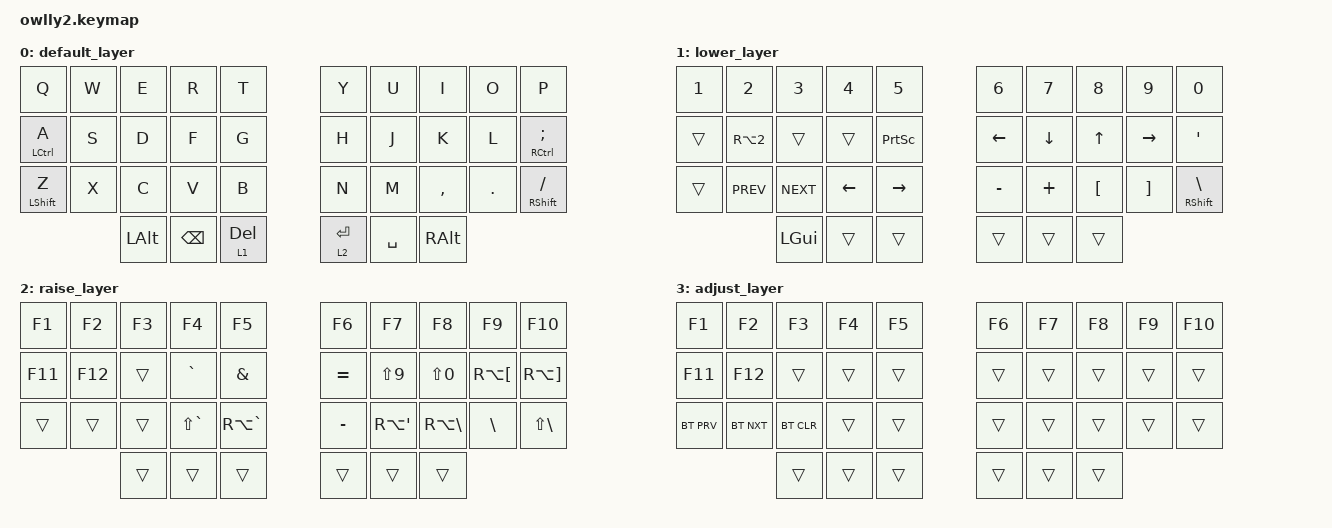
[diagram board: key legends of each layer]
/*
 * Copyright (c) 2020 The ZMK Contributors
 *
 * SPDX-License-Identifier: MIT
 */

#include <behaviors.dtsi>
#include <dt-bindings/zmk/keys.h>
#include <dt-bindings/zmk/bt.h>


&mt {
    tapping-term-ms = <200>;
    flavor = "tap-preferred";
 };
&sk {
     release-after-ms = <2000>;
     quick-release;
 };


/ { 
    combos {
        compatible = "zmk,combos";
		combo_esc { 
            timeout-ms = <50>;
            key-positions = <1 2>;
            bindings = <&kp ESC>;
        };
		combo_tab { 
            timeout-ms = <50>;
            key-positions = <11 12>;
            bindings = <&kp TAB>;
        };
		combo_explorer { 
            timeout-ms = <50>;
            key-positions = <2 30>;
            bindings = <&kp LG(E)>;
        };
    };

behaviors {
	hm: homerow_mods {
		compatible = "zmk,behavior-hold-tap";
		label = "HOMEROW_MODS";
		#binding-cells = <2>;
		tapping-term-ms = <240>;
		quick_tap_ms = <0>;
		flavor = "tap-preferred";
		bindings = <&kp>, <&kp>;
	};
	hs: homerow_shifts {
		compatible = "zmk,behavior-hold-tap";
		label = "HOMEROW_SHIFTS";
		#binding-cells = <2>;
		tapping-term-ms = <150>;
		quick_tap_ms = <0>;
		flavor = "balanced";
		bindings = <&kp>, <&kp>;
	};
	td: tapdance {
		compatible = "zmk,behavior-hold-tap";
		label = "TAPDANCE";
		#binding-cells = <2>;
		tapping-term-ms = <190>;
		quick_tap_ms = <0>;
		flavor = "tap-preferred";
		bindings = <&kp>, <&kp>;
	};
};

keymap {
	compatible = "zmk,keymap";
	
	default_layer {
		bindings = <
			&kp Q 	   	 &kp W 		&kp E		&kp R		&kp T				&kp Y 		&kp U		&kp I		&kp O		&kp P
			&hm LCTRL A  &kp S 		&kp D		&kp F	 	&kp G		 		&kp H 		&kp J		&kp K		&kp L 		&hm RCTRL SEMI
			&hs LSHIFT Z &kp X		&kp C 		&kp V 		&kp B   			&kp N		&kp M  		&kp COMMA 	&kp PERIOD	&hs RSHIFT SLASH
									&kp LALT 	&kp BSPC	&lt 1 DEL			&lt 2 RET	&kp SPACE	&kp RALT 
		>;
	};

	lower_layer {
		bindings = <
			&kp N1		&kp N2 		&kp N3		&kp N4		&kp N5				&kp N6 		&kp N7		&kp N8		&kp N9		&kp N0
			&trans		&kp RA(N2)	&trans		&trans		&kp PSCRN 			&kp LEFT	&kp DOWN	&kp UP		&kp RIGHT	&kp SQT
			&trans		&kp C_PREV	&kp C_NEXT	&kp LEFT	&kp RIGHT			&kp MINUS	&kp PLUS	&kp LBKT	&kp RBKT	&hs RSHIFT BSLH
									&kp LGUI	&trans		&trans				&trans		&trans		&trans
		>;
	};

	raise_layer {
		bindings = <
			&kp F1		&kp F2 		&kp F3	   &kp F4		&kp F5				&kp F6 		&kp F7		&kp F8		&kp F9		&kp F10
			&kp F11		&kp F12		&trans	   &kp GRAVE	&kp AMPS			&kp EQUAL	&kp LS(N9) 	&kp LS(N0)	&kp RA(LBKT) &kp RA(RBKT)
			&trans		&trans	 	&trans	   &kp LS(GRAVE) &kp RA(GRAVE)		&kp MINUS   &kp RA(SQT) &kp RA(BSLH) &kp BSLH	&kp LS(BSLH)
									&trans	   &trans		&trans				&trans		&trans		&trans
		>;
	};

	adjust_layer {
		bindings = <
			&kp F1		&kp F2 		&kp F3		&kp F4		&kp F5				&kp F6 		&kp F7		&kp F8		&kp F9		&kp F10
			&kp F11		&kp F12		&trans		&trans		&trans	 			&trans		&trans		&trans		&trans		&trans
			&bt BT_PRV	&bt BT_NXT 	&bt BT_CLR	&trans		&trans				&trans		&trans		&trans		&trans		&trans
									&trans		&trans		&trans				&trans		&trans		&trans
		>;
	};
};
};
